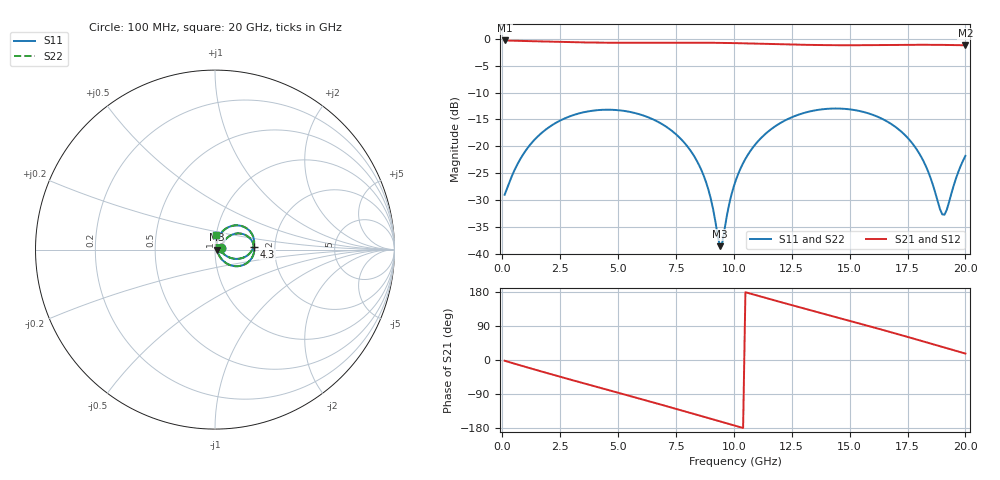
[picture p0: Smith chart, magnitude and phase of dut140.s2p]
! Touchstone file exported from HFSS 2026.1.0
!  File:  C:/ffzhzh/LocalFiles/Ansys_Project_Files/temp_train_TSV_RDL_140_1783050608_45820.aedt
!  Generated:  12:01:07 PM Jul  3, 2026
!  Design:  TSV_RDL
!  Project:  temp_train_TSV_RDL_140_1783050608_45820
! Variables:
!  h_bsmrdl = 2.15um
!  h_ox = 20um
!  h_rdl = 5um
!  h_sub = 73.33um
!  h_tmrdl = 5.63um
!  h_tsv = 73.33um
!  h_via = 3um
!  l_bsmrdl = 430.55um
!  l_sub = 5659.95um
!  l_tmrdl = 971.27um
!  m_sub = 200um
!  pitch = 22.63um
!  r_tsv = 9.1um
!  s_tmrdl = 10um
!  w_bsmrdl = 15.07um
!  w_sub = 500um
!  w_tmrdl = 12.67um
!  x_tsv_center1 = 977.605um
!  x_tsv_center2 = 1423.225um
!  x_tsv_center3 = 2407.165um
!  x_tsv_center4 = 2852.785um
!  x_tsv_center5 = 3836.725um
!  x_tsv_center6 = 4282.345um
# GHz S MA R 50.000000
! Terminal data exported
! Port[1] = TM_RDL1_1_T1
! Port[2] = TM_RDL5_1_T1
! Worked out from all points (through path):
!   200 points, 100 MHz to 20 GHz, reference 50 ohm
!   highest |S21| = -0.30 dB at 100 MHz (marker M1); lowest = -1.2 dB at 20 GHz (marker M2)
!   group delay of S21, straight-line fit = 47.4 ps
!   lowest |S11| = -38.6 dB at 9.4 GHz (marker M3), VSWR 1.02, Z = 51.2 - j0.00248 ohm
!   |S11| at or under -10 dB: start of sweep to end of sweep
!   |S22| runs from -38.9 to -13.0 dB; largest |S21 - S12| = 1.6e-14
!   S11 on the Smith chart (normalised r, x): 100 MHz: 1.07, +0.02; 4.3 GHz: 1.56, +0.06; 20 GHz: 1.00, +0.16
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0.1  0.03536 14.7  0.9661 -1.9  0.9661 -1.9  0.03536 14.7
! Gamma 0 0 0 0
! Port Impedance 50 0 50 0
0.7  0.07102 42.8  0.958 -12.8  0.958 -12.8  0.07103 42.8
1.4  0.1156 42.6  0.9497 -25.2  0.9497 -25.2  0.1156 42.6
3.5  0.207 16.4  0.9266 -61.2  0.9266 -61.2  0.207 16.4
4.3  0.2183 4.5  0.9214 -74.6  0.9214 -74.6  0.2184 4.5
5.6  0.207 -15.2  0.9189 -96.4  0.9189 -96.4  0.2071 -15.2
6.8  0.1656 -33.3  0.9207 -116.8  0.9207 -116.8  0.1656 -33.5
7.8  0.1118 -47.6  0.922 -134.1  0.922 -134.1  0.1118 -47.8
8.5  0.06666 -55.1  0.9214 -146.3  0.9214 -146.3  0.06669 -55.5
9  0.03283 -52.7  0.9197 -155.0  0.9197 -155.0  0.03277 -53.5
9.4  0.01176 -0.1  0.9176 -162.0  0.9176 -162.0  0.0113 -1.1
9.5  0.01265 32.2  0.9169 -163.8  0.9169 -163.8  0.01216 32.7
10.1  0.04927 74.9  0.9121 -174.2  0.9121 -174.2  0.04904 75.4
10.6  0.08298 72.3  0.9071 177.1  0.9071 177.1  0.0828 72.6
11.4  0.1326 62.4  0.8979 163.4  0.8979 163.4  0.1324 62.6
13.4  0.2137 32.9  0.8773 129.8  0.8773 129.8  0.2136 33.1
15.1  0.2193 7.6  0.8719 101.7  0.8719 101.7  0.2192 7.7
16.7  0.1663 -15.4  0.8767 74.8  0.8767 74.8  0.1663 -15.3
18  0.08627 -29.1  0.8806 52.3  0.8806 52.3  0.08633 -28.9
19  0.02324 17.8  0.8787 34.6  0.8787 34.6  0.02353 17.9
19.2  0.02579 53.5  0.8776 31.1  0.8776 31.1  0.02605 53.2
20  0.08139 86.2  0.8708 17.0  0.8708 17.0  0.08145 86.0
